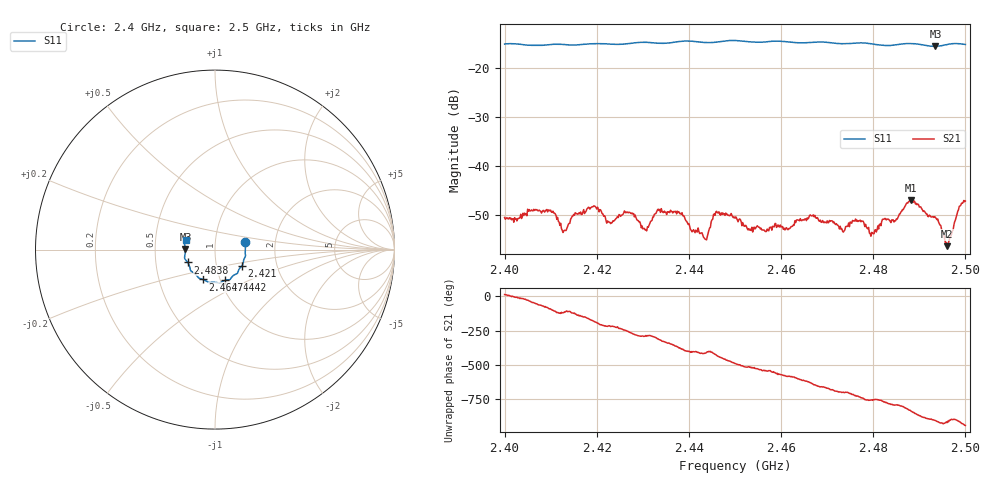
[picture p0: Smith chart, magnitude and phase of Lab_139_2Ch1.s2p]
# Hz S RI R 50
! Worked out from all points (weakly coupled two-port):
!   601 points, 2.4 GHz to 2.5 GHz, reference 50 ohm
!   highest |S21| = -47.01 dB at 2.4882 GHz (marker M1); lowest = -56.4 dB at 2.496 GHz (marker M2)
!   lowest |S11| = -15.7 dB at 2.4935 GHz (marker M3), VSWR 1.39, Z = 35.8 + j0.193 ohm
!   |S11| at or under -10 dB: start of sweep to end of sweep
!   S12 and S22 are empty: the file has one direction only
!   S11 on the Smith chart (normalised r, x): 2.4 GHz: 1.40, +0.12; 2.421 GHz: 1.33, -0.24; 2.4442 GHz: 1.05, -0.37; 2.4647 GHz: 0.83, -0.28; 2.4838 GHz: 0.73, -0.11; 2.5 GHz: 0.71, +0.08
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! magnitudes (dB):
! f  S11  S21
! 2.4 GHz  -15.2  -50.5
! 2.4095 GHz  -15.3  -49.0
! 2.413 GHz  -15.3  -53.1
! 2.4167 GHz  -15.3  -49.9
! 2.421 GHz  -15.1  -49.3
! 2.4227 GHz  -15.2  -51.5
! 2.4275 GHz  -15.0  -49.8
! 2.4305 GHz  -14.8  -53.1
! 2.4333 GHz  -15.0  -48.8
! 2.4442 GHz  -14.9  -53.8
! 2.4458 GHz  -14.8  -49.4
! 2.45 GHz  -14.5  -50.7
! 2.4563 GHz  -14.8  -53.1
! 2.4647 GHz  -14.9  -51.0
! 2.4667 GHz  -14.8  -50.2
! 2.4797 GHz  -15.1  -53.6
! 2.4833 GHz  -15.5  -50.9
! 2.4838 GHz  -15.5  -51.6
! 2.4882 GHz  -15.1  -47.0
! 2.4935 GHz  -15.7  -50.5
! 2.496 GHz  -15.3  -56.4
! 2.5 GHz  -15.3  -47.2
